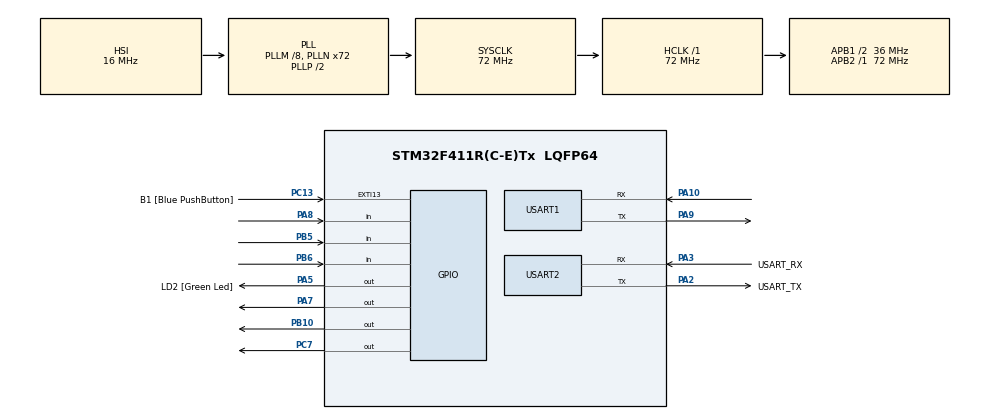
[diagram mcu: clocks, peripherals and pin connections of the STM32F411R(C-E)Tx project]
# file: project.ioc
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Mcu.Family=STM32F4
Mcu.Name=STM32F411R(C-E)Tx
Mcu.Package=LQFP64
NVIC.PriorityGroup=NVIC_PRIORITYGROUP_0
PA10.Mode=Asynchronous
PA10.Signal=USART1_RX
PA13.GPIO_Label=TMS
PA13.Mode=Serial_Wire
PA13.Signal=SYS_JTMS-SWDIO
PA14.GPIO_Label=TCK
PA14.Mode=Serial_Wire
PA14.Signal=SYS_JTCK-SWCLK
PA2.GPIO_Label=USART_TX
PA2.Mode=Asynchronous
PA2.Signal=USART2_TX
PA3.GPIO_Label=USART_RX
PA3.Mode=Asynchronous
PA3.Signal=USART2_RX
PA5.GPIO_Label=LD2 [Green Led]
PA5.Signal=GPIO_Output
PA7.Signal=GPIO_Output
PA8.Signal=GPIO_Input
PA9.Mode=Asynchronous
PA9.Signal=USART1_TX
PB10.Signal=GPIO_Output
PB3.GPIO_Label=SWO
PB3.Signal=SYS_JTDO-SWO
PB5.Signal=GPIO_Input
PB6.Signal=GPIO_Input
PC13-ANTI_TAMP.GPIO_Label=B1 [Blue PushButton]
PC13-ANTI_TAMP.GPIO_ModeDefaultEXTI=GPIO_MODE_IT_FALLING
PC13-ANTI_TAMP.Signal=GPXTI13
PC14-OSC32_IN.Mode=LSE-External-Oscillator
PC14-OSC32_IN.Signal=RCC_OSC32_IN
PC15-OSC32_OUT.Mode=LSE-External-Oscillator
PC15-OSC32_OUT.Signal=RCC_OSC32_OUT
PC7.Signal=GPIO_Output
PH0\ -\ OSC_IN.Mode=HSE-External-Clock-Source
PH0\ -\ OSC_IN.Signal=RCC_OSC_IN
PH1\ -\ OSC_OUT.Mode=HSE-External-Clock-Source
PH1\ -\ OSC_OUT.Signal=RCC_OSC_OUT
ProjectManager.HeapSize=0x200
ProjectManager.StackSize=0x400
ProjectManager.TargetToolchain=STM32CubeIDE
RCC.48MHZClocksFreq_Value=36000000
RCC.AHBFreq_Value=72000000
RCC.APB1CLKDivider=RCC_HCLK_DIV2
RCC.APB1Freq_Value=36000000
RCC.APB1TimFreq_Value=72000000
RCC.APB2Freq_Value=72000000
RCC.APB2TimFreq_Value=72000000
RCC.CortexFreq_Value=72000000
RCC.FLatency-AdvancedSettings=FLASH_LATENCY_2
RCC.HCLKFreq_Value=72000000
RCC.HSE_VALUE=8000000
RCC.HSI_VALUE=16000000
RCC.PLLM=8
RCC.PLLN=72
RCC.SYSCLKFreq_VALUE=72000000
RCC.SYSCLKSource=RCC_SYSCLKSOURCE_PLLCLK
RCC.VCOOutputFreq_Value=144000000
TIM3.Prescaler=71
USART1.VirtualMode=VM_ASYNC
USART2.VirtualMode=VM_ASYNC
VP_TIM3_VS_ClockSourceINT.Mode=Internal
board=NUCLEO-F411RE

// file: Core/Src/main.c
/* USER CODE BEGIN Header */
/**
 ******************************************************************************
 * @file           : main.c
 * @brief          : Main program body
 ******************************************************************************
 * @attention
 *
 * Copyright (c) 2024 STMicroelectronics.
 * All rights reserved.
 *
 * This software is licensed under terms that can be found in the LICENSE file
 * in the root directory of this software component.
 * If no LICENSE file comes with this software, it is provided AS-IS.
 *
 ******************************************************************************
 */
/* USER CODE END Header */
#include "main.h"

TIM_HandleTypeDef htim3;

UART_HandleTypeDef huart1;
UART_HandleTypeDef huart2;

void SystemClock_Config(void);
static void MX_GPIO_Init(void);
static void MX_USART2_UART_Init(void);
static void MX_TIM3_Init(void);
static void MX_USART1_UART_Init(void);

int main(void)
{

  /* MCU Configuration--------------------------------------------------------*/

  /* Reset of all peripherals, Initializes the Flash interface and the Systick. */
  HAL_Init();

  /* Configure the system clock */
  SystemClock_Config();

  /* Initialize all configured peripherals */
  MX_GPIO_Init();
  MX_USART2_UART_Init();
  MX_TIM3_Init();
  MX_USART1_UART_Init();
  /* USER CODE BEGIN 2 */
  uint32_t lastint = HAL_GetTick();
  uint32_t pMillis;
  uint32_t val1 = 0;
  uint32_t val2 = 0;
  uint16_t distance = 0;
  char string[15];
  char a = '\n';
  char b = '\r';
  char c;
  HAL_TIM_Base_Start(&htim3);
  HAL_GPIO_WritePin(GPIOB, GPIO_PIN_10, GPIO_PIN_RESET);
  /* USER CODE END 2 */

  /* Infinite loop */
  /* USER CODE BEGIN WHILE */
  int mode = 0;
  int waterLevel = 10;
  while (1)
  {
    /* USER CODE END WHILE */

    /* USER CODE BEGIN 3 */
    HAL_GPIO_WritePin(GPIOB, GPIO_PIN_10, GPIO_PIN_SET);
    __HAL_TIM_SET_COUNTER(&htim3, 0);
    while (__HAL_TIM_GET_COUNTER(&htim3) < 10)
      ;
    HAL_GPIO_WritePin(GPIOB, GPIO_PIN_10, GPIO_PIN_RESET);

    pMillis = HAL_GetTick();
    while (!(HAL_GPIO_ReadPin(GPIOA, GPIO_PIN_8)) && pMillis + 10 > HAL_GetTick())
      ;
    val1 = __HAL_TIM_GET_COUNTER(&htim3);
    pMillis = HAL_GetTick();
    while ((HAL_GPIO_ReadPin(GPIOA, GPIO_PIN_8)) && pMillis + 50 > HAL_GetTick())
      ;
    val2 = __HAL_TIM_GET_COUNTER(&htim3);
    distance = (val2 - val1) * 0.34 / 2;
    if (HAL_GPIO_ReadPin(GPIOB, GPIO_PIN_6) == GPIO_PIN_RESET)
    {
      if (distance <= waterLevel)
      {
        HAL_GPIO_WritePin(GPIOC, GPIO_PIN_7, GPIO_PIN_SET);
        HAL_GPIO_WritePin(GPIOA, GPIO_PIN_7, GPIO_PIN_RESET);
      }
      else
      {
        HAL_GPIO_WritePin(GPIOC, GPIO_PIN_7, GPIO_PIN_RESET);
        HAL_GPIO_WritePin(GPIOA, GPIO_PIN_7, GPIO_PIN_SET);
      }
    }
    else
    {
      if (HAL_GPIO_ReadPin(GPIOB, GPIO_PIN_5) == GPIO_PIN_RESET)
      {
        HAL_GPIO_WritePin(GPIOC, GPIO_PIN_7, GPIO_PIN_RESET);
      }
      else
      {
        HAL_GPIO_WritePin(GPIOC, GPIO_PIN_7, GPIO_PIN_SET);
      }
    }
    char waterHeight = (char)(distance);
    HAL_UART_Transmit(&huart1, &waterHeight, 1, 10);
    if (HAL_UART_Receive(&huart1, &c, 1, 10) == HAL_OK)
    {
      waterLevel = c;
    }
    HAL_Delay(50);
  }
  /* USER CODE END 3 */
}

void SystemClock_Config(void)
{
  RCC_OscInitTypeDef RCC_OscInitStruct = {0};
  RCC_ClkInitTypeDef RCC_ClkInitStruct = {0};

  /** Configure the main internal regulator output voltage
   */
  __HAL_RCC_PWR_CLK_ENABLE();
  __HAL_PWR_VOLTAGESCALING_CONFIG(PWR_REGULATOR_VOLTAGE_SCALE1);

  /** Initializes the RCC Oscillators according to the specified parameters
   * in the RCC_OscInitTypeDef structure.
   */
  RCC_OscInitStruct.OscillatorType = RCC_OSCILLATORTYPE_HSI;
  RCC_OscInitStruct.HSIState = RCC_HSI_ON;
  RCC_OscInitStruct.HSICalibrationValue = RCC_HSICALIBRATION_DEFAULT;
  RCC_OscInitStruct.PLL.PLLState = RCC_PLL_ON;
  RCC_OscInitStruct.PLL.PLLSource = RCC_PLLSOURCE_HSI;
  RCC_OscInitStruct.PLL.PLLM = 8;
  RCC_OscInitStruct.PLL.PLLN = 72;
  RCC_OscInitStruct.PLL.PLLP = RCC_PLLP_DIV2;
  RCC_OscInitStruct.PLL.PLLQ = 4;
  if (HAL_RCC_OscConfig(&RCC_OscInitStruct) != HAL_OK)
  {
    Error_Handler();
  }

  /** Initializes the CPU, AHB and APB buses clocks
   */
  RCC_ClkInitStruct.ClockType = RCC_CLOCKTYPE_HCLK | RCC_CLOCKTYPE_SYSCLK | RCC_CLOCKTYPE_PCLK1 | RCC_CLOCKTYPE_PCLK2;
  RCC_ClkInitStruct.SYSCLKSource = RCC_SYSCLKSOURCE_PLLCLK;
  RCC_ClkInitStruct.AHBCLKDivider = RCC_SYSCLK_DIV1;
  RCC_ClkInitStruct.APB1CLKDivider = RCC_HCLK_DIV2;
  RCC_ClkInitStruct.APB2CLKDivider = RCC_HCLK_DIV1;

  if (HAL_RCC_ClockConfig(&RCC_ClkInitStruct, FLASH_LATENCY_2) != HAL_OK)
  {
    Error_Handler();
  }
}

static void MX_TIM3_Init(void)
{

  TIM_ClockConfigTypeDef sClockSourceConfig = {0};
  TIM_MasterConfigTypeDef sMasterConfig = {0};

  htim3.Instance = TIM3;
  htim3.Init.Prescaler = 71;
  htim3.Init.CounterMode = TIM_COUNTERMODE_UP;
  htim3.Init.Period = 65535;
  htim3.Init.ClockDivision = TIM_CLOCKDIVISION_DIV1;
  htim3.Init.AutoReloadPreload = TIM_AUTORELOAD_PRELOAD_DISABLE;
  if (HAL_TIM_Base_Init(&htim3) != HAL_OK)
  {
    Error_Handler();
  }
  sClockSourceConfig.ClockSource = TIM_CLOCKSOURCE_INTERNAL;
  if (HAL_TIM_ConfigClockSource(&htim3, &sClockSourceConfig) != HAL_OK)
  {
    Error_Handler();
  }
  sMasterConfig.MasterOutputTrigger = TIM_TRGO_RESET;
  sMasterConfig.MasterSlaveMode = TIM_MASTERSLAVEMODE_DISABLE;
  if (HAL_TIMEx_MasterConfigSynchronization(&htim3, &sMasterConfig) != HAL_OK)
  {
    Error_Handler();
  }
}

static void MX_USART1_UART_Init(void)
{

  huart1.Instance = USART1;
  huart1.Init.BaudRate = 115200;
  huart1.Init.WordLength = UART_WORDLENGTH_8B;
  huart1.Init.StopBits = UART_STOPBITS_1;
  huart1.Init.Parity = UART_PARITY_NONE;
  huart1.Init.Mode = UART_MODE_TX_RX;
  huart1.Init.HwFlowCtl = UART_HWCONTROL_NONE;
  huart1.Init.OverSampling = UART_OVERSAMPLING_16;
  if (HAL_UART_Init(&huart1) != HAL_OK)
  {
    Error_Handler();
  }
}

static void MX_USART2_UART_Init(void)
{

  huart2.Instance = USART2;
  huart2.Init.BaudRate = 115200;
  huart2.Init.WordLength = UART_WORDLENGTH_8B;
  huart2.Init.StopBits = UART_STOPBITS_1;
  huart2.Init.Parity = UART_PARITY_NONE;
  huart2.Init.Mode = UART_MODE_TX_RX;
  huart2.Init.HwFlowCtl = UART_HWCONTROL_NONE;
  huart2.Init.OverSampling = UART_OVERSAMPLING_16;
  if (HAL_UART_Init(&huart2) != HAL_OK)
  {
    Error_Handler();
  }
}

static void MX_GPIO_Init(void)
{
  GPIO_InitTypeDef GPIO_InitStruct = {0};

  /* GPIO Ports Clock Enable */
  __HAL_RCC_GPIOC_CLK_ENABLE();
  __HAL_RCC_GPIOH_CLK_ENABLE();
  __HAL_RCC_GPIOA_CLK_ENABLE();
  __HAL_RCC_GPIOB_CLK_ENABLE();

  /*Configure GPIO pin Output Level */
  HAL_GPIO_WritePin(GPIOA, LD2_Pin | GPIO_PIN_7, GPIO_PIN_RESET);

  /*Configure GPIO pin Output Level */
  HAL_GPIO_WritePin(GPIOB, GPIO_PIN_10, GPIO_PIN_RESET);

  /*Configure GPIO pin Output Level */
  HAL_GPIO_WritePin(GPIOC, GPIO_PIN_7, GPIO_PIN_RESET);

  /*Configure GPIO pin : B1_Pin */
  GPIO_InitStruct.Pin = B1_Pin;
  GPIO_InitStruct.Mode = GPIO_MODE_IT_FALLING;
  GPIO_InitStruct.Pull = GPIO_NOPULL;
  HAL_GPIO_Init(B1_GPIO_Port, &GPIO_InitStruct);

  /*Configure GPIO pins : LD2_Pin PA7 */
  GPIO_InitStruct.Pin = LD2_Pin | GPIO_PIN_7;
  GPIO_InitStruct.Mode = GPIO_MODE_OUTPUT_PP;
  GPIO_InitStruct.Pull = GPIO_NOPULL;
  GPIO_InitStruct.Speed = GPIO_SPEED_FREQ_LOW;
  HAL_GPIO_Init(GPIOA, &GPIO_InitStruct);

  /*Configure GPIO pin : PB10 */
  GPIO_InitStruct.Pin = GPIO_PIN_10;
  GPIO_InitStruct.Mode = GPIO_MODE_OUTPUT_PP;
  GPIO_InitStruct.Pull = GPIO_NOPULL;
  GPIO_InitStruct.Speed = GPIO_SPEED_FREQ_LOW;
  HAL_GPIO_Init(GPIOB, &GPIO_InitStruct);

  /*Configure GPIO pin : PC7 */
  GPIO_InitStruct.Pin = GPIO_PIN_7;
  GPIO_InitStruct.Mode = GPIO_MODE_OUTPUT_PP;
  GPIO_InitStruct.Pull = GPIO_NOPULL;
  GPIO_InitStruct.Speed = GPIO_SPEED_FREQ_LOW;
  HAL_GPIO_Init(GPIOC, &GPIO_InitStruct);

  /*Configure GPIO pin : PA8 */
  GPIO_InitStruct.Pin = GPIO_PIN_8;
  GPIO_InitStruct.Mode = GPIO_MODE_INPUT;
  GPIO_InitStruct.Pull = GPIO_NOPULL;
  HAL_GPIO_Init(GPIOA, &GPIO_InitStruct);

  /*Configure GPIO pins : PB5 PB6 */
  GPIO_InitStruct.Pin = GPIO_PIN_5 | GPIO_PIN_6;
  GPIO_InitStruct.Mode = GPIO_MODE_INPUT;
  GPIO_InitStruct.Pull = GPIO_NOPULL;
  HAL_GPIO_Init(GPIOB, &GPIO_InitStruct);

}

void Error_Handler(void)
{
  __disable_irq();
  while (1)
  {
  }
}
